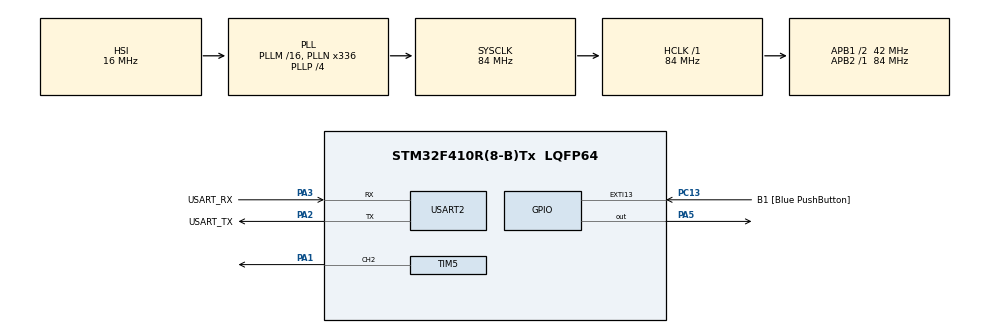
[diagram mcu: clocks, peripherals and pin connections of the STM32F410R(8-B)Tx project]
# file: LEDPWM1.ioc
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Dma.Request0=USART2_TX
Dma.USART2_TX.0.Direction=DMA_MEMORY_TO_PERIPH
Dma.USART2_TX.0.FIFOMode=DMA_FIFOMODE_DISABLE
Dma.USART2_TX.0.Instance=DMA1_Stream6
Dma.USART2_TX.0.MemDataAlignment=DMA_MDATAALIGN_BYTE
Dma.USART2_TX.0.MemInc=DMA_MINC_ENABLE
Dma.USART2_TX.0.Mode=DMA_NORMAL
Dma.USART2_TX.0.PeriphDataAlignment=DMA_PDATAALIGN_BYTE
Dma.USART2_TX.0.PeriphInc=DMA_PINC_DISABLE
Dma.USART2_TX.0.Priority=DMA_PRIORITY_LOW
Mcu.Family=STM32F4
Mcu.Name=STM32F410R(8-B)Tx
Mcu.Package=LQFP64
NVIC.DMA1_Stream6_IRQn=true\:0\:0\:false\:false\:true\:false\:true\:true
NVIC.EXTI15_10_IRQn=true\:0\:0\:false\:false\:true\:true\:true\:true
NVIC.PriorityGroup=NVIC_PRIORITYGROUP_0
PA1.Signal=S_TIM5_CH2
PA13.GPIO_Label=TMS
PA13.Mode=Serial_Wire
PA13.Signal=SYS_JTMS-SWDIO
PA14.GPIO_Label=TCK
PA14.Mode=Serial_Wire
PA14.Signal=SYS_JTCK-SWCLK
PA2.GPIO_Label=USART_TX
PA2.Mode=Asynchronous
PA2.Signal=USART2_TX
PA3.GPIO_Label=USART_RX
PA3.Mode=Asynchronous
PA3.Signal=USART2_RX
PA5.Signal=GPIO_Output
PB3.GPIO_Label=SWO
PB3.Signal=SYS_JTDO-SWO
PC13-ANTI_TAMP.GPIO_Label=B1 [Blue PushButton]
PC13-ANTI_TAMP.GPIO_ModeDefaultEXTI=GPIO_MODE_IT_FALLING
PC13-ANTI_TAMP.Signal=GPXTI13
PC14-OSC32_IN.Mode=LSE-External-Oscillator
PC14-OSC32_IN.Signal=RCC_OSC32_IN
PC15-OSC32_OUT.Mode=LSE-External-Oscillator
PC15-OSC32_OUT.Signal=RCC_OSC32_OUT
PH0\ -\ OSC_IN.Mode=HSE-External-Clock-Source
PH0\ -\ OSC_IN.Signal=RCC_OSC_IN
PH1\ -\ OSC_OUT.Mode=HSE-External-Clock-Source
PH1\ -\ OSC_OUT.Signal=RCC_OSC_OUT
ProjectManager.HeapSize=0x200
ProjectManager.StackSize=0x400
ProjectManager.TargetToolchain=STM32CubeIDE
RCC.48MHZClocksFreq_Value=84000000
RCC.AHBFreq_Value=84000000
RCC.APB1CLKDivider=RCC_HCLK_DIV2
RCC.APB1Freq_Value=42000000
RCC.APB1TimFreq_Value=84000000
RCC.APB2Freq_Value=84000000
RCC.APB2TimFreq_Value=84000000
RCC.CortexFreq_Value=84000000
RCC.FLatency-AdvancedSettings=FLASH_LATENCY_2
RCC.HCLKFreq_Value=84000000
RCC.HSE_VALUE=8000000
RCC.HSI_VALUE=16000000
RCC.PLLN=336
RCC.PLLP=RCC_PLLP_DIV4
RCC.SYSCLKFreq_VALUE=84000000
RCC.SYSCLKSource=RCC_SYSCLKSOURCE_PLLCLK
RCC.VCOOutputFreq_Value=336000000
SH.S_TIM5_CH2.0=TIM5_CH2,PWM Generation2 CH2
TIM5.AutoReloadPreload=TIM_AUTORELOAD_PRELOAD_ENABLE
TIM5.Channel-PWM\ Generation2\ CH2=TIM_CHANNEL_2
TIM5.Period=1000
TIM5.Prescaler=84
TIM5.Pulse-PWM\ Generation2\ CH2=500
USART2.VirtualMode=VM_ASYNC
VP_TIM5_VS_ClockSourceINT.Mode=Internal
board=NUCLEO-F410RB

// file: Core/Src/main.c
/* USER CODE BEGIN Header */
/**
  ******************************************************************************
  * @file           : main.c
  * @brief          : Main program body
  ******************************************************************************
  * @attention
  *
  * Copyright (c) 2026 STMicroelectronics.
  * All rights reserved.
  *
  * This software is licensed under terms that can be found in the LICENSE file
  * in the root directory of this software component.
  * If no LICENSE file comes with this software, it is provided AS-IS.
  *
  ******************************************************************************
  */
/* USER CODE END Header */
#include "main.h"

/* USER CODE BEGIN Includes */
#include <stdio.h>
/* USER CODE END Includes */

/* USER CODE BEGIN PTD */
#ifdef __GNUC__
#define PUTCHAR_PROTOTYPE int __io_putchar(int ch)
#else
#define PUTCHAR_PROTOTYPE int fputc(int ch, FILE *f)
#endif
/* USER CODE END PTD */

TIM_HandleTypeDef htim5;

UART_HandleTypeDef huart2;
DMA_HandleTypeDef hdma_usart2_tx;

/* USER CODE BEGIN PV */
uint16_t valueOfThePulse[]={100,200,500,750};
uint16_t pulseOfPWM = 0;
char tx_buffer[20]; // Ensure buffer is large enough for digits + null terminator

/* USER CODE END PV */

void SystemClock_Config(void);
static void MX_GPIO_Init(void);
static void MX_DMA_Init(void);
static void MX_USART2_UART_Init(void);
static void MX_TIM5_Init(void);

/* USER CODE BEGIN 0 */

PUTCHAR_PROTOTYPE
{
  // Send a single character over USART
  HAL_UART_Transmit(&huart2, (uint8_t *)&ch, 1, HAL_MAX_DELAY);
  return ch;
}

/* USER CODE END 0 */

int main(void)
{

  /* MCU Configuration--------------------------------------------------------*/

  /* Reset of all peripherals, Initializes the Flash interface and the Systick. */
  HAL_Init();

  /* Configure the system clock */
  SystemClock_Config();

  /* Initialize all configured peripherals */
  MX_GPIO_Init();
  MX_DMA_Init();
  MX_USART2_UART_Init();
  MX_TIM5_Init();
  /* USER CODE BEGIN 2 */
  HAL_TIM_PWM_Start(&htim5, TIM_CHANNEL_2);

  /* USER CODE END 2 */

  /* Infinite loop */
  while (1)
  {

	  __HAL_TIM_SET_COMPARE(&htim5, TIM_CHANNEL_2, valueOfThePulse[pulseOfPWM]);
	  int len = sprintf(tx_buffer, "value = %d\r\n", pulseOfPWM);
	  HAL_UART_Transmit(&huart2, (uint8_t*)tx_buffer, len+1, HAL_MAX_DELAY);
	  HAL_Delay(100);

  }
}

void SystemClock_Config(void)
{
  RCC_OscInitTypeDef RCC_OscInitStruct = {0};
  RCC_ClkInitTypeDef RCC_ClkInitStruct = {0};

  /** Configure the main internal regulator output voltage
  */
  __HAL_RCC_PWR_CLK_ENABLE();
  __HAL_PWR_VOLTAGESCALING_CONFIG(PWR_REGULATOR_VOLTAGE_SCALE1);

  /** Initializes the RCC Oscillators according to the specified parameters
  * in the RCC_OscInitTypeDef structure.
  */
  RCC_OscInitStruct.OscillatorType = RCC_OSCILLATORTYPE_HSI;
  RCC_OscInitStruct.HSIState = RCC_HSI_ON;
  RCC_OscInitStruct.HSICalibrationValue = RCC_HSICALIBRATION_DEFAULT;
  RCC_OscInitStruct.PLL.PLLState = RCC_PLL_ON;
  RCC_OscInitStruct.PLL.PLLSource = RCC_PLLSOURCE_HSI;
  RCC_OscInitStruct.PLL.PLLM = 16;
  RCC_OscInitStruct.PLL.PLLN = 336;
  RCC_OscInitStruct.PLL.PLLP = RCC_PLLP_DIV4;
  RCC_OscInitStruct.PLL.PLLQ = 4;
  RCC_OscInitStruct.PLL.PLLR = 2;
  if (HAL_RCC_OscConfig(&RCC_OscInitStruct) != HAL_OK)
  {
    Error_Handler();
  }

  /** Initializes the CPU, AHB and APB buses clocks
  */
  RCC_ClkInitStruct.ClockType = RCC_CLOCKTYPE_HCLK|RCC_CLOCKTYPE_SYSCLK
                              |RCC_CLOCKTYPE_PCLK1|RCC_CLOCKTYPE_PCLK2;
  RCC_ClkInitStruct.SYSCLKSource = RCC_SYSCLKSOURCE_PLLCLK;
  RCC_ClkInitStruct.AHBCLKDivider = RCC_SYSCLK_DIV1;
  RCC_ClkInitStruct.APB1CLKDivider = RCC_HCLK_DIV2;
  RCC_ClkInitStruct.APB2CLKDivider = RCC_HCLK_DIV1;

  if (HAL_RCC_ClockConfig(&RCC_ClkInitStruct, FLASH_LATENCY_2) != HAL_OK)
  {
    Error_Handler();
  }
}

static void MX_TIM5_Init(void)
{

  TIM_ClockConfigTypeDef sClockSourceConfig = {0};
  TIM_MasterConfigTypeDef sMasterConfig = {0};
  TIM_OC_InitTypeDef sConfigOC = {0};

  htim5.Instance = TIM5;
  htim5.Init.Prescaler = 84;
  htim5.Init.CounterMode = TIM_COUNTERMODE_UP;
  htim5.Init.Period = 1000;
  htim5.Init.ClockDivision = TIM_CLOCKDIVISION_DIV1;
  htim5.Init.AutoReloadPreload = TIM_AUTORELOAD_PRELOAD_ENABLE;
  if (HAL_TIM_Base_Init(&htim5) != HAL_OK)
  {
    Error_Handler();
  }
  sClockSourceConfig.ClockSource = TIM_CLOCKSOURCE_INTERNAL;
  if (HAL_TIM_ConfigClockSource(&htim5, &sClockSourceConfig) != HAL_OK)
  {
    Error_Handler();
  }
  if (HAL_TIM_PWM_Init(&htim5) != HAL_OK)
  {
    Error_Handler();
  }
  sMasterConfig.MasterOutputTrigger = TIM_TRGO_RESET;
  sMasterConfig.MasterSlaveMode = TIM_MASTERSLAVEMODE_DISABLE;
  if (HAL_TIMEx_MasterConfigSynchronization(&htim5, &sMasterConfig) != HAL_OK)
  {
    Error_Handler();
  }
  sConfigOC.OCMode = TIM_OCMODE_PWM1;
  sConfigOC.Pulse = 500;
  sConfigOC.OCPolarity = TIM_OCPOLARITY_HIGH;
  sConfigOC.OCFastMode = TIM_OCFAST_DISABLE;
  if (HAL_TIM_PWM_ConfigChannel(&htim5, &sConfigOC, TIM_CHANNEL_2) != HAL_OK)
  {
    Error_Handler();
  }
  HAL_TIM_MspPostInit(&htim5);

}

static void MX_USART2_UART_Init(void)
{

  huart2.Instance = USART2;
  huart2.Init.BaudRate = 115200;
  huart2.Init.WordLength = UART_WORDLENGTH_8B;
  huart2.Init.StopBits = UART_STOPBITS_1;
  huart2.Init.Parity = UART_PARITY_NONE;
  huart2.Init.Mode = UART_MODE_TX_RX;
  huart2.Init.HwFlowCtl = UART_HWCONTROL_NONE;
  huart2.Init.OverSampling = UART_OVERSAMPLING_16;
  if (HAL_UART_Init(&huart2) != HAL_OK)
  {
    Error_Handler();
  }

}

static void MX_DMA_Init(void)
{

  /* DMA controller clock enable */
  __HAL_RCC_DMA1_CLK_ENABLE();

  /* DMA interrupt init */
  /* DMA1_Stream6_IRQn interrupt configuration */
  HAL_NVIC_SetPriority(DMA1_Stream6_IRQn, 0, 0);
  HAL_NVIC_EnableIRQ(DMA1_Stream6_IRQn);

}

static void MX_GPIO_Init(void)
{
  GPIO_InitTypeDef GPIO_InitStruct = {0};

  /* GPIO Ports Clock Enable */
  __HAL_RCC_GPIOC_CLK_ENABLE();
  __HAL_RCC_GPIOH_CLK_ENABLE();
  __HAL_RCC_GPIOA_CLK_ENABLE();
  __HAL_RCC_GPIOB_CLK_ENABLE();

  /*Configure GPIO pin Output Level */
  HAL_GPIO_WritePin(GPIOA, GPIO_PIN_5, GPIO_PIN_RESET);

  /*Configure GPIO pin : B1_Pin */
  GPIO_InitStruct.Pin = B1_Pin;
  GPIO_InitStruct.Mode = GPIO_MODE_IT_FALLING;
  GPIO_InitStruct.Pull = GPIO_NOPULL;
  HAL_GPIO_Init(B1_GPIO_Port, &GPIO_InitStruct);

  /*Configure GPIO pin : PA5 */
  GPIO_InitStruct.Pin = GPIO_PIN_5;
  GPIO_InitStruct.Mode = GPIO_MODE_OUTPUT_PP;
  GPIO_InitStruct.Pull = GPIO_NOPULL;
  GPIO_InitStruct.Speed = GPIO_SPEED_FREQ_LOW;
  HAL_GPIO_Init(GPIOA, &GPIO_InitStruct);

  /* EXTI interrupt init*/
  HAL_NVIC_SetPriority(EXTI15_10_IRQn, 0, 0);
  HAL_NVIC_EnableIRQ(EXTI15_10_IRQn);

}

/* USER CODE BEGIN 4 */
void HAL_GPIO_EXTI_Callback(uint16_t GPIO_Pin)
{
  if(GPIO_Pin == GPIO_PIN_13) {
    HAL_GPIO_WritePin(GPIOA, GPIO_PIN_5, GPIO_PIN_SET);
    pulseOfPWM++;
    if(pulseOfPWM >= 3){
    	pulseOfPWM = 0;
    }
  } else {
      __NOP();
  }
}
/* USER CODE END 4 */

void Error_Handler(void)
{
  __disable_irq();
  while (1)
  {
  }
}
